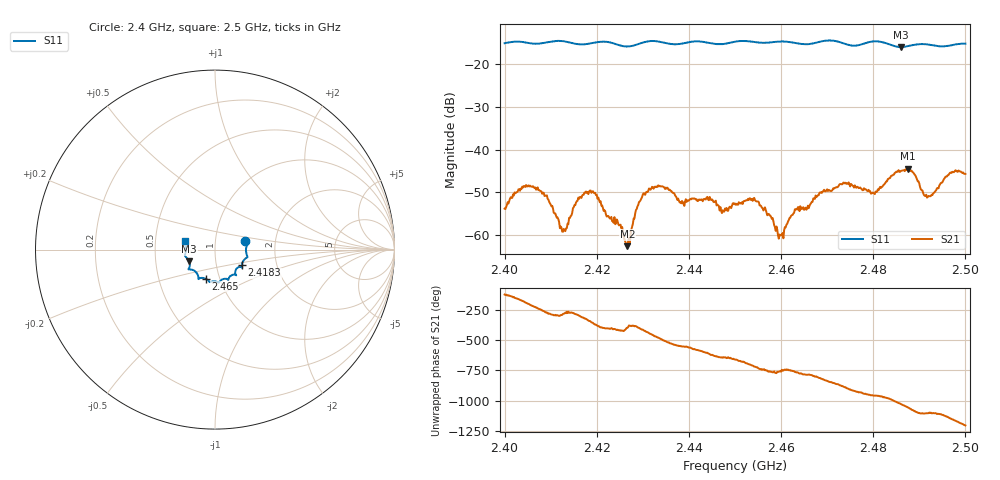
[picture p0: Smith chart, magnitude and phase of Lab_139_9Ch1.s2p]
# Hz S RI R
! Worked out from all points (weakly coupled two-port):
!   601 points, 2.4 GHz to 2.5 GHz, reference 50 ohm
!   highest |S21| = -44.48 dB at 2.4875 GHz (marker M1); lowest = -62.6 dB at 2.4267 GHz (marker M2)
!   lowest |S11| = -16.0 dB at 2.486 GHz (marker M3), VSWR 1.37, Z = 37.2 - j5 ohm
!   |S11| at or under -10 dB: start of sweep to end of sweep
!   S12 and S22 are empty: the file has one direction only
!   S11 on the Smith chart (normalised r, x): 2.4 GHz: 1.40, +0.13; 2.4183 GHz: 1.33, -0.24; 2.465 GHz: 0.86, -0.29; 2.5 GHz: 0.71, +0.07
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2.4e9  0.169 0.0457  -0.00117 -0.00168  0 0  0 0
2.406167e9  0.1729 0.00693  -0.00286 0.00241  0 0  0 0
2.413e9  0.1786 -0.0438  0.00023 0.00112  0 0  0 0
2.416667e9  0.1551 -0.0685  0.00172 0.00212  0 0  0 0
2.418333e9  0.1497 -0.0869  0.00309 0.000967  0 0  0 0
2.426667e9  0.1205 -0.1057  0.000579 -0.000469  0 0  0 0
2.429667e9  0.1133 -0.1345  0.00169 -0.00208  0 0  0 0
2.433333e9  0.1168 -0.1412  -0.00198 -0.00327  0 0  0 0
2.4385e9  0.0799 -0.1536  -0.00245 0.000572  0 0  0 0
2.45e9  0.0251 -0.1806  0.0012 0.00202  0 0  0 0
2.454667e9  0.00982 -0.1793  0.00247 -0.000214  0 0  0 0
2.46e9  -0.0278 -0.1814  0.000757 -0.000646  0 0  0 0
2.465e9  -0.0529 -0.1621  0.000896 -0.00177  0 0  0 0
2.466667e9  -0.0716 -0.1575  0.000834 -0.00231  0 0  0 0
2.4735e9  -0.0936 -0.1476  -0.00395 -0.00113  0 0  0 0
2.48e9  -0.1472 -0.1102  -0.0017 0.00263  0 0  0 0
2.483333e9  -0.1416 -0.0957  -0.000581 0.00453  0 0  0 0
2.486e9  -0.1436 -0.0656  0.00341 0.00449  0 0  0 0
2.4875e9  -0.1536 -0.051  0.00543 0.00248  0 0  0 0
2.491833e9  -0.1667 -0.0285  0.00256 -0.00113  0 0  0 0
2.496833e9  -0.163 0.0259  0.00201 -0.00502  0 0  0 0
2.5e9  -0.1665 0.0473  -0.00293 -0.0043  0 0  0 0
